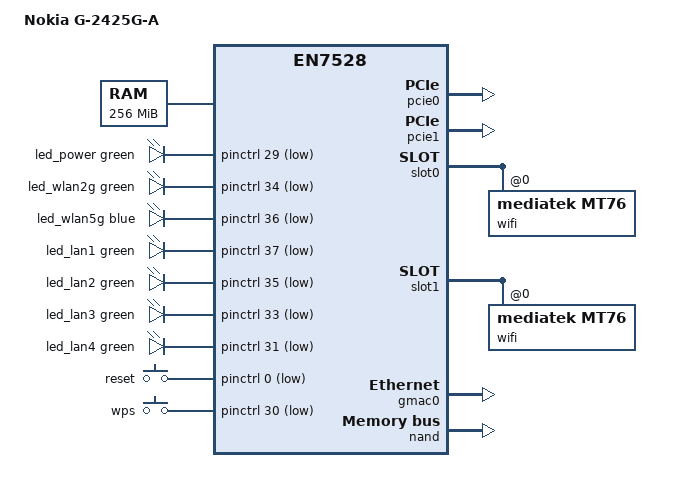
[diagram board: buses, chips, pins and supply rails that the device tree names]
// SPDX-License-Identifier: (GPL-2.0-only OR BSD-2-Clause)
// Nokia G-2425G-A (Airtel) — EN7528, MT7603 (2.4G) + MT7663 (5G).
// Hardware is the Airtel-branded DASAN H660GM-A family, but flash layout
// differs from the Dasan units; partition map from live NAND dump
// (see PHASE2-FINDINGS.md in this project).
//
// Reverse-engineering notes (from stock dump):
//   - LED GPIO map: stock firmware uses proprietary tcledctrl reading
//     /userfs/led.conf. GPIO numbering matches the DASAN H660GM-A
//     reference (same EN7528 SoC family): power=29, wlan2g=34, wlan5g=36,
//     reset_btn=0, wps_btn=30, lan1=37, lan2=35, lan3=33, lan4=31.
//     GPIO0-GPIO41 are the pins with a GPIO function on the EN7528 pinctrl.
//   - Ethernet: dumb-switch mode (econet-eth driver), MT7530 switch
//     bridged in hardware to gmac0. &switch stays disabled.
//   - MAC: from ri partition offset 0x3e (verified against live dump).

#include "en7528.dtsi"

#include <dt-bindings/gpio/gpio.h>
#include <dt-bindings/input/input.h>
#include <dt-bindings/leds/common.h>

/ {
	model = "Nokia G-2425G-A";
	compatible = "nokia,g-2425g-a", "dasan,h660gm-a-airtel", "econet,en7528";

	aliases {
		led-boot = &led_power;
		led-failsafe = &led_power;
		led-running = &led_power;
		led-upgrade = &led_power;
	};

	memory@0 {
		device_type = "memory";
		reg = <0x00000000 0x10000000>;
	};

	chosen {
		stdout-path = "/serial@1fbf0000:115200";
		linux,usable-memory-range = <0x00020000 0x0ffe0000>;
		bootargs = "console=ttyS0,115200 root=ubi0:rootfs ubi.mtd=ubi";
	};

	leds {
		compatible = "gpio-leds";

		/* Power LED — GPIO 29 from DASAN H660GM-A reference map. */
		led_power: pwr {
			color = <LED_COLOR_ID_GREEN>;
			function = LED_FUNCTION_POWER;
			gpios = <&pinctrl 29 GPIO_ACTIVE_LOW>;
		};

		/* WiFi 2.4 GHz LED — GPIO 34, tied to phy0tpt trigger. */
		led_wlan2g: wlan2g {
			color = <LED_COLOR_ID_GREEN>;
			function = LED_FUNCTION_WLAN_2GHZ;
			gpios = <&pinctrl 34 GPIO_ACTIVE_LOW>;
			linux,default-trigger = "phy0tpt";
		};

		/* WiFi 5 GHz LED — GPIO 36, tied to phy1tpt trigger. */
		led_wlan5g: wlan5g {
			color = <LED_COLOR_ID_BLUE>;
			function = LED_FUNCTION_WLAN_5GHZ;
			gpios = <&pinctrl 36 GPIO_ACTIVE_LOW>;
			linux,default-trigger = "phy1tpt";
		};

		/* LAN port LEDs — switch PHY LED pins muxed as GPIO.
		 * Active-low, one per LAN socket (ports 1-4). */
		led_lan1: lan1 {
			color = <LED_COLOR_ID_GREEN>;
			function = LED_FUNCTION_LAN;
			function-enumerator = <1>;
			gpios = <&pinctrl 37 GPIO_ACTIVE_LOW>;
		};

		led_lan2: lan2 {
			color = <LED_COLOR_ID_GREEN>;
			function = LED_FUNCTION_LAN;
			function-enumerator = <2>;
			gpios = <&pinctrl 35 GPIO_ACTIVE_LOW>;
		};

		led_lan3: lan3 {
			color = <LED_COLOR_ID_GREEN>;
			function = LED_FUNCTION_LAN;
			function-enumerator = <3>;
			gpios = <&pinctrl 33 GPIO_ACTIVE_LOW>;
		};

		led_lan4: lan4 {
			color = <LED_COLOR_ID_GREEN>;
			function = LED_FUNCTION_LAN;
			function-enumerator = <4>;
			gpios = <&pinctrl 31 GPIO_ACTIVE_LOW>;
		};
	};

	keys {
		compatible = "gpio-keys";
		poll-interval = <100>;

		key-reset {
			label = "reset";
			gpios = <&pinctrl 0 GPIO_ACTIVE_LOW>;
			linux,code = <KEY_RESTART>;
		};
	};

	/* GPIO0-GPIO15 can raise interrupts; the rest must be polled.
	 * WPS button on GPIO 30 uses the polled keys. */
	keys-polled {
		compatible = "gpio-keys-polled";
		poll-interval = <100>;

		key-wps {
			label = "wps";
			gpios = <&pinctrl 30 GPIO_ACTIVE_LOW>;
			linux,code = <KEY_WPS_BUTTON>;
		};
	};

};

&pcie0 {
	status = "okay";
};

&pcie1 {
	status = "okay";
};

&slot0 {
	status = "okay";

	wifi@0,0 {
		compatible = "mediatek,mt76";
		reg = <0x0000 0 0 0 0>;
		nvmem-cells = <&macaddr_ri 0>;
		nvmem-cell-names = "mac-address";
		ieee80211-freq-limit = <2400000 2500000>;
	};
};

&slot1 {
	status = "okay";

	wifi@0,0 {
		compatible = "mediatek,mt76";
		reg = <0x0000 0 0 0 0>;
		nvmem-cells = <&macaddr_ri 1>;
		nvmem-cell-names = "mac-address";
		ieee80211-freq-limit = <5000000 6000000>;
	};
};

&gmac0 {
	status = "okay";
	nvmem-cells = <&macaddr_ri 0>;
	nvmem-cell-names = "mac-address";
};

/*
 * Ethernet: dumb-switch mode via econet-eth driver.
 *
 * The driver bridges the on-die MT7530 in hardware (all LAN ports <-> CPU
 * port 6 <-> gmac0) whenever its register window covers the switch block.
 * Keep &switch disabled so the MT7530 DSA driver does not bind, and widen
 * the ethernet register window to 0x10000 so has_switch_regs is true
 * (covers both the frame engine at 0x1fb50000 and the switch at 0x1fb58000).
 */
&ethernet {
	reg = <0x1fb50000 0x10000>;
};

&nand {
	status = "okay";
	econet,bmt;
	econet,bbt-table-size = <250>;

	partitions: partitions {
		compatible = "fixed-partitions";
		#address-cells = <1>;
		#size-cells = <1>;

		partition@0 {
			label = "bootloader";
			reg = <0x0 0x40000>;
			read-only;
		};

		partition@40000 {
			label = "romfile";
			reg = <0x40000 0x40000>;
			read-only;
		};

		partition@80000 {
			label = "image0";
			reg = <0x80000 0x2200000>;
		};

		linux_kernel: partition@2280000 {
			label = "linux_kernel";
			reg = <0x2280000 0x400000>;
		};

		/* UBI rootfs volume — inside the linux slot, right after the
		 * 4 MB kernel area. Kept separate from the stock "rootfs"
		 * partition so image0 stays a genuine recovery slot. */
		ubi: partition@2680000 {
			label = "ubi";
			reg = <0x2680000 0x1e00000>;
		};

		stock_rootfs: partition@4480000 {
			label = "rootfs";
			reg = <0x4480000 0x1e20000>;
			read-only;
		};

		partition@6260000 {
			label = "image_oflt";
			reg = <0x6260000 0xf00000>;
		};

		partition@7160000 {
			label = "config";
			reg = <0x7160000 0x800000>;
		};

		partition@7960000 {
			label = "log";
			reg = <0x7960000 0xc00000>;
		};

		partition@8560000 {
			label = "extfs";
			reg = <0x8560000 0x600000>;
		};

		partition@8b60000 {
			label = "bosa";
			reg = <0x8b60000 0x40000>;
		};

		partition@8ba0000 {
			label = "flag";
			reg = <0x8ba0000 0x40000>;
		};

		partition@8be0000 {
			label = "flagback";
			reg = <0x8be0000 0x40000>;
		};

		ri: partition@8c20000 {
			label = "ri";
			reg = <0x8c20000 0x40000>;
			read-only;

			nvmem-layout {
				compatible = "fixed-layout";
				#address-cells = <1>;
				#size-cells = <1>;

				/* MAC at offset 0x3e inside the ri partition
				 * (verified against live dump). */
				macaddr_ri: macaddr@3e {
					compatible = "mac-base";
					reg = <0x3e 0x6>;
					#nvmem-cell-cells = <1>;
				};
			};
		};

		partition@8c60000 {
			label = "riback";
			reg = <0x8c60000 0x40000>;
			read-only;
		};

		partition@8ca0000 {
			label = "data";
			reg = <0x8ca0000 0x6e00000>;
		};
	};
};
